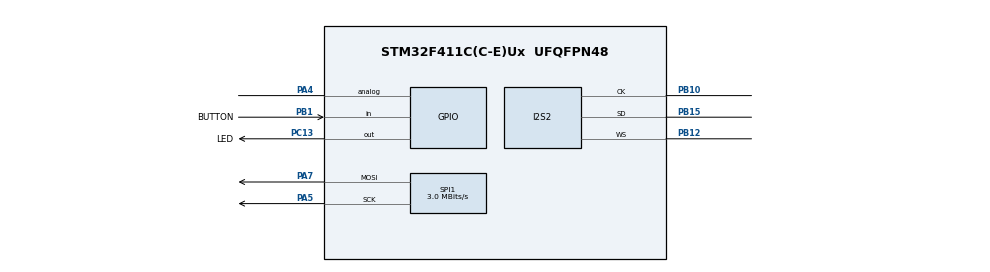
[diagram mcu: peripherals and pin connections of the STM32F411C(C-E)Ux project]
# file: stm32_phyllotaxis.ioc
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Dma.Request0=SPI1_TX
Dma.Request1=SPI2_RX
Dma.SPI1_TX.0.Direction=DMA_MEMORY_TO_PERIPH
Dma.SPI1_TX.0.FIFOMode=DMA_FIFOMODE_DISABLE
Dma.SPI1_TX.0.Instance=DMA2_Stream2
Dma.SPI1_TX.0.MemDataAlignment=DMA_MDATAALIGN_BYTE
Dma.SPI1_TX.0.MemInc=DMA_MINC_ENABLE
Dma.SPI1_TX.0.Mode=DMA_NORMAL
Dma.SPI1_TX.0.PeriphDataAlignment=DMA_PDATAALIGN_BYTE
Dma.SPI1_TX.0.PeriphInc=DMA_PINC_DISABLE
Dma.SPI1_TX.0.Priority=DMA_PRIORITY_VERY_HIGH
Dma.SPI2_RX.1.Direction=DMA_PERIPH_TO_MEMORY
Dma.SPI2_RX.1.FIFOMode=DMA_FIFOMODE_DISABLE
Dma.SPI2_RX.1.Instance=DMA1_Stream3
Dma.SPI2_RX.1.MemDataAlignment=DMA_MDATAALIGN_HALFWORD
Dma.SPI2_RX.1.MemInc=DMA_MINC_ENABLE
Dma.SPI2_RX.1.Mode=DMA_CIRCULAR
Dma.SPI2_RX.1.PeriphDataAlignment=DMA_PDATAALIGN_HALFWORD
Dma.SPI2_RX.1.PeriphInc=DMA_PINC_DISABLE
Dma.SPI2_RX.1.Priority=DMA_PRIORITY_MEDIUM
I2S2.AudioFreq=I2S_AUDIOFREQ_32K
I2S2.CPOL=I2S_CPOL_HIGH
I2S2.DataFormat=I2S_DATAFORMAT_24B
I2S2.ErrorAudioFreq=0.33 %
I2S2.FullDuplexMode=I2S_FULLDUPLEXMODE_DISABLE
I2S2.Instance=SPI$Index
I2S2.Mode=I2S_MODE_MASTER_RX
I2S2.RealAudioFreq=32.106 KHz
I2S2.Standard=I2S_STANDARD_PHILIPS
I2S2.VirtualMode=I2S_MODE_MASTER
Mcu.Family=STM32F4
Mcu.Name=STM32F411C(C-E)Ux
Mcu.Package=UFQFPN48
NVIC.DMA1_Stream3_IRQn=true\:0\:0\:false\:false\:true\:false\:true\:true
NVIC.DMA2_Stream2_IRQn=true\:0\:0\:false\:false\:true\:false\:true\:true
NVIC.PriorityGroup=NVIC_PRIORITYGROUP_4
PA4.Signal=GPIO_Analog
PA5.Mode=TX_Only_Simplex_Unidirect_Master
PA5.Signal=SPI1_SCK
PA7.GPIO_PuPd=GPIO_NOPULL
PA7.Mode=TX_Only_Simplex_Unidirect_Master
PA7.Signal=SPI1_MOSI
PB1.GPIO_Label=BUTTON
PB1.GPIO_PuPd=GPIO_PULLUP
PB1.Signal=GPIO_Input
PB10.Mode=Half_Duplex_Master
PB10.Signal=I2S2_CK
PB12.Mode=Half_Duplex_Master
PB12.Signal=I2S2_WS
PB15.GPIO_PuPd=GPIO_PULLDOWN
PB15.Mode=Half_Duplex_Master
PB15.Signal=I2S2_SD
PC13-ANTI_TAMP.GPIO_Label=LED
PC13-ANTI_TAMP.Signal=GPIO_Output
PH0\ -\ OSC_IN.Mode=HSE-External-Oscillator
PH0\ -\ OSC_IN.Signal=RCC_OSC_IN
PH1\ -\ OSC_OUT.Mode=HSE-External-Oscillator
PH1\ -\ OSC_OUT.Signal=RCC_OSC_OUT
ProjectManager.HeapSize=0x200
ProjectManager.StackSize=0x400
ProjectManager.TargetToolchain=Makefile
RCC.48MHZClocksFreq_Value=48000000
RCC.AHBFreq_Value=96000000
RCC.APB1CLKDivider=RCC_HCLK_DIV2
RCC.APB1Freq_Value=48000000
RCC.APB1TimFreq_Value=96000000
RCC.APB2Freq_Value=96000000
RCC.APB2TimFreq_Value=96000000
RCC.CortexFreq_Value=96000000
RCC.HCLKFreq_Value=96000000
RCC.HSE_VALUE=25000000
RCC.HSI_VALUE=16000000
RCC.LSE_VALUE=32768
RCC.PLLM=25
RCC.PLLSourceVirtual=RCC_PLLSOURCE_HSE
RCC.SYSCLKFreq_VALUE=96000000
RCC.SYSCLKSource=RCC_SYSCLKSOURCE_PLLCLK
RCC.VCOOutputFreq_Value=192000000
SPI1.BaudRatePrescaler=SPI_BAUDRATEPRESCALER_32
SPI1.CalculateBaudRate=3.0 MBits/s
SPI1.Direction=SPI_DIRECTION_2LINES
SPI1.Mode=SPI_MODE_MASTER
SPI1.VirtualType=VM_MASTER
board=custom

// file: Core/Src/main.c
/* USER CODE BEGIN Header */
/**
  ******************************************************************************
  * @file           : main.c
  * @brief          : Main program body
  ******************************************************************************
  * @attention
  *
  * Copyright (c) 2025 STMicroelectronics.
  * All rights reserved.
  *
  * This software is licensed under terms that can be found in the LICENSE file
  * in the root directory of this software component.
  * If no LICENSE file comes with this software, it is provided AS-IS.
  *
  ******************************************************************************
  */
/* USER CODE END Header */
#include "main.h"

/* USER CODE BEGIN Includes */
#include "util.h"
#include "audio.h"
#include "sketches.h"
#include <stdbool.h>
#include <math.h>
#include "arm_math.h"
/* USER CODE END Includes */

/* USER CODE BEGIN PD */
#define SPI_BUFFER_LEN (9 * NUM_LEDS + 1)
/* USER CODE END PD */

I2S_HandleTypeDef hi2s2;
DMA_HandleTypeDef hdma_spi2_rx;

/* USER CODE BEGIN PV */

LEDBuffer leds;
uint8_t spi_buffer[SPI_BUFFER_LEN];
/* USER CODE END PV */

void SystemClock_Config(void);
void PeriphCommonClock_Config(void);
static void MX_GPIO_Init(void);
static void MX_DMA_Init(void);
static void MX_SPI1_Init(void);
static void MX_I2S2_Init(void);
/* USER CODE BEGIN PFP */

static void write_rgb_to_spi(uint32_t rgb, uint8_t *data_ptr);

/* USER CODE END PFP */

/* USER CODE BEGIN 0 */

void write_rgb_to_spi(uint32_t rgb, uint8_t *data_ptr) {
  uint16_t r_hi = neopixel_spi_encode_nibble_lut[(rgb >> 20) & 0xf];
  uint16_t r_lo = neopixel_spi_encode_nibble_lut[(rgb >> 16) & 0xf];

  uint16_t g_hi = neopixel_spi_encode_nibble_lut[(rgb >> 12) & 0xf];
  uint16_t g_lo = neopixel_spi_encode_nibble_lut[(rgb >> 8) & 0xf];

  uint16_t b_hi = neopixel_spi_encode_nibble_lut[(rgb >> 4) & 0xf];
  uint16_t b_lo = neopixel_spi_encode_nibble_lut[(rgb >> 0) & 0xf];

  data_ptr[0] = g_hi >> 4;
  data_ptr[1] = (g_hi << 4) | (g_lo >> 8);
  data_ptr[2] = g_lo;

  data_ptr[3] = r_hi >> 4;
  data_ptr[4] = (r_hi << 4) | (r_lo >> 8);
  data_ptr[5] = r_lo;

  data_ptr[6] = b_hi >> 4;
  data_ptr[7] = (b_hi << 4) | (b_lo >> 8);
  data_ptr[8] = b_lo;
}

/* USER CODE END 0 */

int main(void)
{

  /* MCU Configuration--------------------------------------------------------*/

  /* Reset of all peripherals, Initializes the Flash interface and the Systick. */
  HAL_Init();

  /* Configure the system clock */
  SystemClock_Config();

  /* Configure the peripherals common clocks */
  PeriphCommonClock_Config();

  /* USER CODE BEGIN SysInit */
  LL_SYSTICK_EnableIT();
  /* USER CODE END SysInit */

  /* Initialize all configured peripherals */
  MX_GPIO_Init();
  MX_DMA_Init();
  MX_SPI1_Init();
  MX_I2S2_Init();
  /* USER CODE BEGIN 2 */
  // Configure DMA
  LL_DMA_SetPeriphAddress(DMA2, LL_DMA_STREAM_2, LL_SPI_DMA_GetRegAddr(SPI1));
  LL_DMA_ConfigAddresses(DMA2, LL_DMA_STREAM_2, (uint32_t)spi_buffer, LL_SPI_DMA_GetRegAddr(SPI1),
    LL_DMA_GetDataTransferDirection(DMA2, LL_DMA_STREAM_2));
  LL_DMA_SetDataLength(DMA2, LL_DMA_STREAM_2, SPI_BUFFER_LEN);
  LL_DMA_ClearFlag_TC2(DMA2);
  // Enable SPI DMA
  LL_SPI_EnableDMAReq_TX(SPI1);
  LL_SPI_Enable(SPI1);

  HAL_I2S_Receive_DMA(&hi2s2, (uint16_t*)rx_buffer, AUDIO_BUFFER_SIZE);

  init_audio();
  init_spiral_maps();

  LL_mDelay(20);

  int dma_started = 0;

  /* USER CODE END 2 */

  /* Infinite loop */
  /* USER CODE BEGIN WHILE */
  while (1)
  {
    button_update(&button, BUTTON_GPIO_Port, BUTTON_Pin);
    process_audio();
    draw(leds);
    apply_gamma_to_leds(leds);

    if (dma_started) {
      while (!LL_DMA_IsActiveFlag_TC2(DMA2));
      while (LL_SPI_IsActiveFlag_BSY(SPI1));
      LL_DMA_ClearFlag_TC2(DMA2);
    }

    uint8_t *walk = spi_buffer;
    for (int i = 0; i < NUM_LEDS; i++) {
      write_rgb_to_spi(leds[i], walk);
      walk += 9;
    }

    // Enable one shot of DMA to write LEDs
    LL_DMA_EnableStream(DMA2, LL_DMA_STREAM_2);
    dma_started = 1;

    // LL_mDelay(1);

    /* USER CODE END WHILE */

  }
}

void SystemClock_Config(void)
{
  LL_FLASH_SetLatency(LL_FLASH_LATENCY_3);
  while(LL_FLASH_GetLatency()!= LL_FLASH_LATENCY_3)
  {
  }
  LL_PWR_SetRegulVoltageScaling(LL_PWR_REGU_VOLTAGE_SCALE1);
  LL_RCC_HSE_Enable();

   /* Wait till HSE is ready */
  while(LL_RCC_HSE_IsReady() != 1)
  {

  }
  LL_RCC_PLL_ConfigDomain_SYS(LL_RCC_PLLSOURCE_HSE, LL_RCC_PLLM_DIV_25, 192, LL_RCC_PLLP_DIV_2);
  LL_RCC_PLL_Enable();

   /* Wait till PLL is ready */
  while(LL_RCC_PLL_IsReady() != 1)
  {

  }
  while (LL_PWR_IsActiveFlag_VOS() == 0)
  {
  }
  LL_RCC_SetAHBPrescaler(LL_RCC_SYSCLK_DIV_1);
  LL_RCC_SetAPB1Prescaler(LL_RCC_APB1_DIV_2);
  LL_RCC_SetAPB2Prescaler(LL_RCC_APB2_DIV_1);
  LL_RCC_SetSysClkSource(LL_RCC_SYS_CLKSOURCE_PLL);

   /* Wait till System clock is ready */
  while(LL_RCC_GetSysClkSource() != LL_RCC_SYS_CLKSOURCE_STATUS_PLL)
  {

  }
  LL_SetSystemCoreClock(96000000);

   /* Update the time base */
  if (HAL_InitTick (TICK_INT_PRIORITY) != HAL_OK)
  {
    Error_Handler();
  }
  LL_RCC_SetTIMPrescaler(LL_RCC_TIM_PRESCALER_TWICE);
}

void PeriphCommonClock_Config(void)
{
  LL_RCC_PLLI2S_ConfigDomain_I2S(LL_RCC_PLLSOURCE_HSE, LL_RCC_PLLI2SM_DIV_16, 192, LL_RCC_PLLI2SR_DIV_2);
  LL_RCC_PLLI2S_Enable();

   /* Wait till PLL is ready */
  while(LL_RCC_PLLI2S_IsReady() != 1)
  {

  }
}

static void MX_I2S2_Init(void)
{

  hi2s2.Instance = SPI2;
  hi2s2.Init.Mode = I2S_MODE_MASTER_RX;
  hi2s2.Init.Standard = I2S_STANDARD_PHILIPS;
  hi2s2.Init.DataFormat = I2S_DATAFORMAT_24B;
  hi2s2.Init.MCLKOutput = I2S_MCLKOUTPUT_DISABLE;
  hi2s2.Init.AudioFreq = I2S_AUDIOFREQ_32K;
  hi2s2.Init.CPOL = I2S_CPOL_HIGH;
  hi2s2.Init.ClockSource = I2S_CLOCK_PLL;
  hi2s2.Init.FullDuplexMode = I2S_FULLDUPLEXMODE_DISABLE;
  if (HAL_I2S_Init(&hi2s2) != HAL_OK)
  {
    Error_Handler();
  }

}

static void MX_SPI1_Init(void)
{

  LL_SPI_InitTypeDef SPI_InitStruct = {0};

  LL_GPIO_InitTypeDef GPIO_InitStruct = {0};

  /* Peripheral clock enable */
  LL_APB2_GRP1_EnableClock(LL_APB2_GRP1_PERIPH_SPI1);

  LL_AHB1_GRP1_EnableClock(LL_AHB1_GRP1_PERIPH_GPIOA);
  /**SPI1 GPIO Configuration
  PA5   ------> SPI1_SCK
  PA7   ------> SPI1_MOSI
  */
  GPIO_InitStruct.Pin = LL_GPIO_PIN_5|LL_GPIO_PIN_7;
  GPIO_InitStruct.Mode = LL_GPIO_MODE_ALTERNATE;
  GPIO_InitStruct.Speed = LL_GPIO_SPEED_FREQ_VERY_HIGH;
  GPIO_InitStruct.OutputType = LL_GPIO_OUTPUT_PUSHPULL;
  GPIO_InitStruct.Pull = LL_GPIO_PULL_NO;
  GPIO_InitStruct.Alternate = LL_GPIO_AF_5;
  LL_GPIO_Init(GPIOA, &GPIO_InitStruct);

  /* SPI1 DMA Init */

  /* SPI1_TX Init */
  LL_DMA_SetChannelSelection(DMA2, LL_DMA_STREAM_2, LL_DMA_CHANNEL_2);

  LL_DMA_SetDataTransferDirection(DMA2, LL_DMA_STREAM_2, LL_DMA_DIRECTION_MEMORY_TO_PERIPH);

  LL_DMA_SetStreamPriorityLevel(DMA2, LL_DMA_STREAM_2, LL_DMA_PRIORITY_VERYHIGH);

  LL_DMA_SetMode(DMA2, LL_DMA_STREAM_2, LL_DMA_MODE_NORMAL);

  LL_DMA_SetPeriphIncMode(DMA2, LL_DMA_STREAM_2, LL_DMA_PERIPH_NOINCREMENT);

  LL_DMA_SetMemoryIncMode(DMA2, LL_DMA_STREAM_2, LL_DMA_MEMORY_INCREMENT);

  LL_DMA_SetPeriphSize(DMA2, LL_DMA_STREAM_2, LL_DMA_PDATAALIGN_BYTE);

  LL_DMA_SetMemorySize(DMA2, LL_DMA_STREAM_2, LL_DMA_MDATAALIGN_BYTE);

  LL_DMA_DisableFifoMode(DMA2, LL_DMA_STREAM_2);

  /* SPI1 parameter configuration*/
  SPI_InitStruct.TransferDirection = LL_SPI_FULL_DUPLEX;
  SPI_InitStruct.Mode = LL_SPI_MODE_MASTER;
  SPI_InitStruct.DataWidth = LL_SPI_DATAWIDTH_8BIT;
  SPI_InitStruct.ClockPolarity = LL_SPI_POLARITY_LOW;
  SPI_InitStruct.ClockPhase = LL_SPI_PHASE_1EDGE;
  SPI_InitStruct.NSS = LL_SPI_NSS_SOFT;
  SPI_InitStruct.BaudRate = LL_SPI_BAUDRATEPRESCALER_DIV32;
  SPI_InitStruct.BitOrder = LL_SPI_MSB_FIRST;
  SPI_InitStruct.CRCCalculation = LL_SPI_CRCCALCULATION_DISABLE;
  SPI_InitStruct.CRCPoly = 10;
  LL_SPI_Init(SPI1, &SPI_InitStruct);
  LL_SPI_SetStandard(SPI1, LL_SPI_PROTOCOL_MOTOROLA);

}

static void MX_DMA_Init(void)
{

  /* Init with LL driver */
  /* DMA controller clock enable */
  LL_AHB1_GRP1_EnableClock(LL_AHB1_GRP1_PERIPH_DMA2);
  LL_AHB1_GRP1_EnableClock(LL_AHB1_GRP1_PERIPH_DMA1);

  /* DMA interrupt init */
  /* DMA1_Stream3_IRQn interrupt configuration */
  HAL_NVIC_SetPriority(DMA1_Stream3_IRQn, 0, 0);
  HAL_NVIC_EnableIRQ(DMA1_Stream3_IRQn);
  /* DMA2_Stream2_IRQn interrupt configuration */
  NVIC_SetPriority(DMA2_Stream2_IRQn, NVIC_EncodePriority(NVIC_GetPriorityGrouping(),0, 0));
  NVIC_EnableIRQ(DMA2_Stream2_IRQn);

}

static void MX_GPIO_Init(void)
{
  LL_GPIO_InitTypeDef GPIO_InitStruct = {0};

  /* GPIO Ports Clock Enable */
  LL_AHB1_GRP1_EnableClock(LL_AHB1_GRP1_PERIPH_GPIOC);
  LL_AHB1_GRP1_EnableClock(LL_AHB1_GRP1_PERIPH_GPIOH);
  LL_AHB1_GRP1_EnableClock(LL_AHB1_GRP1_PERIPH_GPIOA);
  LL_AHB1_GRP1_EnableClock(LL_AHB1_GRP1_PERIPH_GPIOB);

  /**/
  LL_GPIO_ResetOutputPin(LED_GPIO_Port, LED_Pin);

  /**/
  GPIO_InitStruct.Pin = LED_Pin;
  GPIO_InitStruct.Mode = LL_GPIO_MODE_OUTPUT;
  GPIO_InitStruct.Speed = LL_GPIO_SPEED_FREQ_LOW;
  GPIO_InitStruct.OutputType = LL_GPIO_OUTPUT_PUSHPULL;
  GPIO_InitStruct.Pull = LL_GPIO_PULL_NO;
  LL_GPIO_Init(LED_GPIO_Port, &GPIO_InitStruct);

  /**/
  GPIO_InitStruct.Pin = LL_GPIO_PIN_4;
  GPIO_InitStruct.Mode = LL_GPIO_MODE_ANALOG;
  GPIO_InitStruct.Pull = LL_GPIO_PULL_NO;
  LL_GPIO_Init(GPIOA, &GPIO_InitStruct);

  /**/
  GPIO_InitStruct.Pin = BUTTON_Pin;
  GPIO_InitStruct.Mode = LL_GPIO_MODE_INPUT;
  GPIO_InitStruct.Pull = LL_GPIO_PULL_UP;
  LL_GPIO_Init(BUTTON_GPIO_Port, &GPIO_InitStruct);

  /* USER CODE BEGIN MX_GPIO_Init_2 */
  LL_GPIO_SetOutputPin(LED_GPIO_Port, LED_Pin);
  /* USER CODE END MX_GPIO_Init_2 */
}

/* USER CODE BEGIN 4 */

void HAL_I2S_RxHalfCpltCallback(I2S_HandleTypeDef *hi2s) {
  __disable_irq();
  write_half_audio_buffer(rx_buffer, 0);
  __enable_irq();
}

void HAL_I2S_RxCpltCallback(I2S_HandleTypeDef *hi2s) {
  __disable_irq();
  write_half_audio_buffer(&rx_buffer[AUDIO_BUFFER_SIZE / 2], 1);
  __enable_irq();
}

/* USER CODE END 4 */

void Error_Handler(void)
{
  /* USER CODE BEGIN Error_Handler_Debug */
  /* User can add his own implementation to report the HAL error return state */
  __disable_irq();
  LL_GPIO_ResetOutputPin(LED_GPIO_Port, LED_Pin);
  while (1)
  {
  }
  /* USER CODE END Error_Handler_Debug */
}
#ifdef USE_FULL_ASSERT
/**
  * @brief  Reports the name of the source file and the source line number
  *         where the assert_param error has occurred.
  * @param  file: pointer to the source file name
  * @param  line: assert_param error line source number
  * @retval None
  */
void assert_failed(uint8_t *file, uint32_t line)
{
  /* USER CODE BEGIN 6 */
  /* User can add his own implementation to report the file name and line number,
     ex: printf("Wrong parameters value: file %s on line %d\r\n", file, line) */
  LL_GPIO_ResetOutputPin(LED_GPIO_Port, LED_Pin);
  /* USER CODE END 6 */
}
#endif /* USE_FULL_ASSERT */
